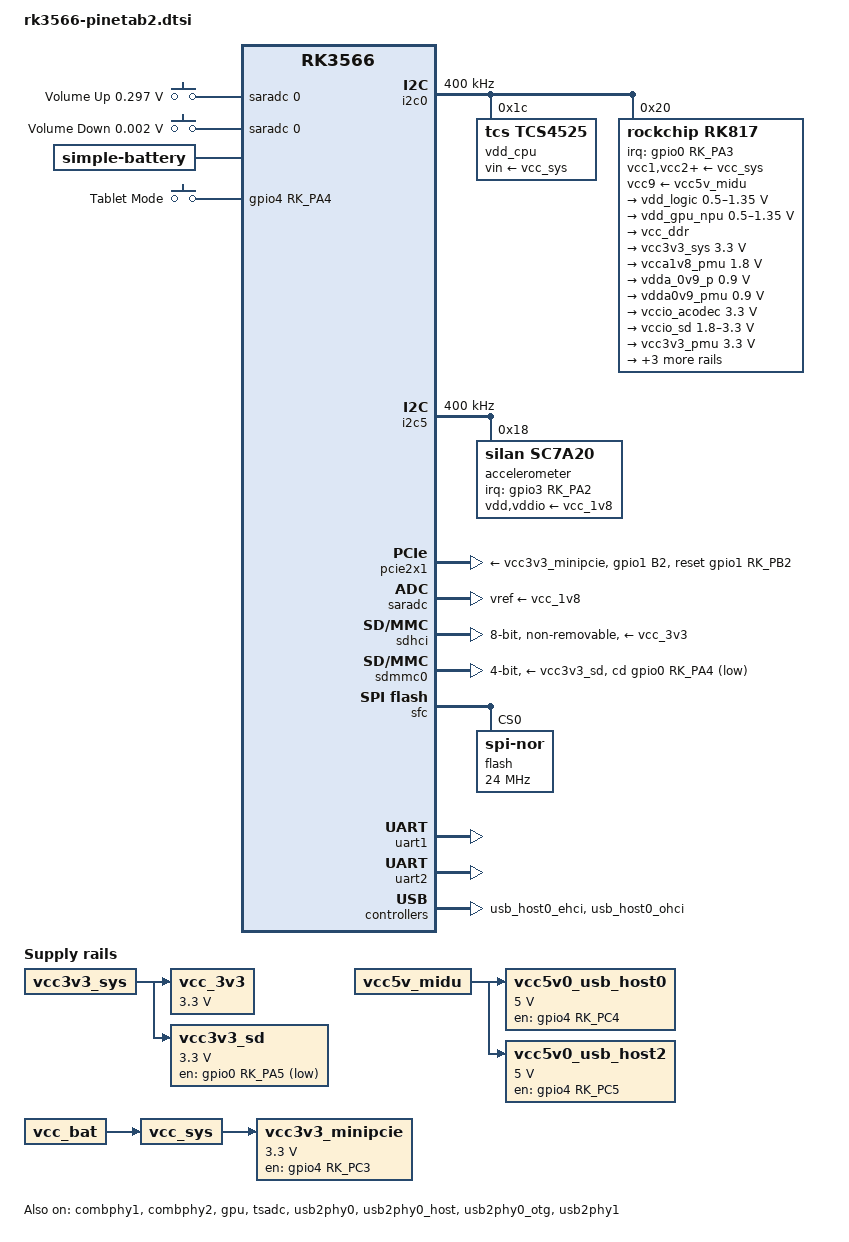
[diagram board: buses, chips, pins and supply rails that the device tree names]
// SPDX-License-Identifier: (GPL-2.0+ OR MIT)

#include <dt-bindings/gpio/gpio.h>
#include <dt-bindings/input/gpio-keys.h>
#include <dt-bindings/input/input.h>
#include <dt-bindings/leds/common.h>
#include <dt-bindings/pinctrl/rockchip.h>
#include <dt-bindings/usb/pd.h>
#include "rk3566.dtsi"

/ {
	chassis-type = "tablet";

	aliases {
		mmc0 = &sdmmc0;
		mmc1 = &sdhci;
	};

	chosen {
		stdout-path = "serial2:1500000n8";
	};

	adc-keys {
		compatible = "adc-keys";
		io-channels = <&saradc 0>;
		io-channel-names = "buttons";
		keyup-threshold-microvolt = <1800000>;
		poll-interval = <25>;

		vol-up-key {
			label = "Volume Up";
			linux,code = <KEY_VOLUMEUP>;
			press-threshold-microvolt = <297500>;
		};

		vol-down-key {
			label = "Volume Down";
			linux,code = <KEY_VOLUMEDOWN>;
			press-threshold-microvolt = <1750>;
		};
	};

	battery: battery {
		compatible = "simple-battery";
		charge-full-design-microamp-hours = <6000000>;
		charge-term-current-microamp = <300000>;
		constant-charge-current-max-microamp = <2000000>;
		constant-charge-voltage-max-microvolt = <4300000>;
		voltage-max-design-microvolt = <4350000>;
		voltage-min-design-microvolt = <3400000>;

		ocv-capacity-celsius = <20>;
		ocv-capacity-table-0 = <4322000 100>, <4250000 95>, <4192000 90>, <4136000 85>,
				       <4080000 80>, <4022000 75>, <3972000 70>, <3928000 65>,
				       <3885000 60>, <3833000 55>, <3798000 50>, <3780000 45>,
				       <3776000 40>, <3773000 35>, <3755000 30>, <3706000 25>,
				       <3640000 20>, <3589000 15>, <3535000 10>, <3492000 5>,
				       <3400000 0>;
	};

	gpio_keys: gpio-keys {
		compatible = "gpio-keys";
		pinctrl-names = "default";
		pinctrl-0 = <&kb_id_det>;

		tablet-mode-switch {
			debounce-interval = <20>;
			gpios = <&gpio4 RK_PA4 GPIO_ACTIVE_HIGH>;
			label = "Tablet Mode";
			linux,input-type = <EV_SW>;
			linux,code = <SW_TABLET_MODE>;
		};
	};

	vcc_3v3: vcc-3v3 {
		compatible = "regulator-fixed";
		regulator-name = "vcc_3v3";
		regulator-always-on;
		regulator-boot-on;
		regulator-min-microvolt = <3300000>;
		regulator-max-microvolt = <3300000>;
		vin-supply = <&vcc3v3_sys>;

		regulator-state-mem {
			regulator-off-in-suspend;
		};
	};

	vcc3v3_minipcie: vcc3v3-minipcie {
		compatible = "regulator-fixed";
		enable-active-high;
		gpio = <&gpio4 RK_PC3 GPIO_ACTIVE_HIGH>;
		pinctrl-names = "default";
		pinctrl-0 = <&pcie_pwren_h>;
		regulator-name = "vcc3v3_minipcie";
		regulator-min-microvolt = <3300000>;
		regulator-max-microvolt = <3300000>;
		vin-supply = <&vcc_sys>;

		regulator-state-mem {
			regulator-off-in-suspend;
		};
	};

	vcc3v3_sd: vcc3v3-sd {
		compatible = "regulator-fixed";
		gpio = <&gpio0 RK_PA5 GPIO_ACTIVE_HIGH>;
		pinctrl-names = "default";
		pinctrl-0 = <&sdmmc_pwren_l>;
		regulator-name = "vcc3v3_sd";
		regulator-min-microvolt = <3300000>;
		regulator-max-microvolt = <3300000>;
		vin-supply = <&vcc3v3_sys>;

		regulator-state-mem {
			regulator-off-in-suspend;
		};
	};

	vcc5v0_usb_host0: vcc5v0-usb-host0 {
		compatible = "regulator-fixed";
		enable-active-high;
		gpio = <&gpio4 RK_PC4 GPIO_ACTIVE_HIGH>;
		pinctrl-names = "default";
		pinctrl-0 = <&usb_host_pwren1_h>;
		regulator-name = "vcc5v0_usb_host0";
		regulator-min-microvolt = <5000000>;
		regulator-max-microvolt = <5000000>;
		vin-supply = <&vcc5v_midu>;

		regulator-state-mem {
			regulator-off-in-suspend;
		};
	};

	vcc5v0_usb_host2: vcc5v0-usb-host2 {
		compatible = "regulator-fixed";
		enable-active-high;
		gpio = <&gpio4 RK_PC5 GPIO_ACTIVE_HIGH>;
		pinctrl-names = "default";
		pinctrl-0 = <&usb_host_pwren2_h>;
		regulator-name = "vcc5v0_usb_host2";
		regulator-min-microvolt = <5000000>;
		regulator-max-microvolt = <5000000>;
		vin-supply = <&vcc5v_midu>;

		regulator-state-mem {
			regulator-off-in-suspend;
		};
	};

	vcc_bat: vcc-bat {
		compatible = "regulator-fixed";
		regulator-name = "vcc_bat";
		regulator-always-on;
		regulator-boot-on;
	};

	vcc_sys: vcc-sys {
		compatible = "regulator-fixed";
		regulator-name = "vcc_sys";
		regulator-always-on;
		regulator-boot-on;
		vin-supply = <&vcc_bat>;
	};
};

&combphy1 {
	status = "okay";
};

&combphy2 {
	status = "okay";
};

&cpu0 {
	cpu-supply = <&vdd_cpu>;
};

&cpu1 {
	cpu-supply = <&vdd_cpu>;
};

&cpu2 {
	cpu-supply = <&vdd_cpu>;
};

&cpu3 {
	cpu-supply = <&vdd_cpu>;
};

&cru {
	assigned-clocks = <&cru PLL_GPLL>, <&pmucru PLL_PPLL>, <&cru PLL_VPLL>;
	assigned-clock-rates = <1200000000>, <200000000>, <500000000>;
};

&gpu {
	mali-supply = <&vdd_gpu_npu>;
	status = "okay";
};

&i2c0 {
	clock-frequency = <400000>;
	status = "okay";

	vdd_cpu: regulator@1c {
		compatible = "tcs,tcs4525";
		reg = <0x1c>;
		fcs,suspend-voltage-selector = <1>;
		regulator-name = "vdd_cpu";
		regulator-min-microvolt = <800000>;
		regulator-max-microvolt = <1150000>;
		regulator-ramp-delay = <2300>;
		regulator-always-on;
		regulator-boot-on;
		vin-supply = <&vcc_sys>;

		regulator-state-mem {
			regulator-off-in-suspend;
		};
	};

	rk817: pmic@20 {
		compatible = "rockchip,rk817";
		reg = <0x20>;
		interrupt-parent = <&gpio0>;
		interrupts = <RK_PA3 IRQ_TYPE_LEVEL_LOW>;
		pinctrl-names = "default";
		pinctrl-0 = <&pmic_int_l>;
		rockchip,system-power-controller;
		wakeup-source;

		vcc1-supply = <&vcc_sys>;
		vcc2-supply = <&vcc_sys>;
		vcc3-supply = <&vcc_sys>;
		vcc4-supply = <&vcc_sys>;
		vcc5-supply = <&vcc_sys>;
		vcc6-supply = <&vcc_sys>;
		vcc7-supply = <&vcc_sys>;
		vcc8-supply = <&vcc_sys>;
		vcc9-supply = <&vcc5v_midu>;

		regulators {
			vdd_logic: DCDC_REG1 {
				regulator-always-on;
				regulator-boot-on;
				regulator-min-microvolt = <500000>;
				regulator-max-microvolt = <1350000>;
				regulator-init-microvolt = <900000>;
				regulator-ramp-delay = <6001>;
				regulator-initial-mode = <0x2>;
				regulator-name = "vdd_logic";
				regulator-state-mem {
					regulator-off-in-suspend;
				};
			};

			vdd_gpu_npu: DCDC_REG2 {
				regulator-always-on;
				regulator-boot-on;
				regulator-min-microvolt = <500000>;
				regulator-max-microvolt = <1350000>;
				regulator-init-microvolt = <900000>;
				regulator-ramp-delay = <6001>;
				regulator-initial-mode = <0x2>;
				regulator-name = "vdd_gpu_npu";
				regulator-state-mem {
					regulator-off-in-suspend;
				};
			};

			vcc_ddr: DCDC_REG3 {
				regulator-always-on;
				regulator-boot-on;
				regulator-initial-mode = <0x2>;
				regulator-name = "vcc_ddr";
				regulator-state-mem {
					regulator-on-in-suspend;
				};
			};

			vcc3v3_sys: DCDC_REG4 {
				regulator-always-on;
				regulator-boot-on;
				regulator-min-microvolt = <3300000>;
				regulator-max-microvolt = <3300000>;
				regulator-initial-mode = <0x2>;
				regulator-name = "vcc3v3_sys";
				regulator-state-mem {
					regulator-off-in-suspend;
				};
			};

			vcca1v8_pmu: LDO_REG1 {
				regulator-always-on;
				regulator-boot-on;
				regulator-min-microvolt = <1800000>;
				regulator-max-microvolt = <1800000>;
				regulator-name = "vcca1v8_pmu";
				regulator-state-mem {
					regulator-on-in-suspend;
				};
			};

			vdda_0v9_p: LDO_REG2 {
				regulator-always-on;
				regulator-boot-on;
				regulator-min-microvolt = <900000>;
				regulator-max-microvolt = <900000>;
				regulator-name = "vdda_0v9_p";
				regulator-state-mem {
					regulator-off-in-suspend;
				};
			};

			vdda0v9_pmu: LDO_REG3 {
				regulator-always-on;
				regulator-boot-on;
				regulator-min-microvolt = <900000>;
				regulator-max-microvolt = <900000>;
				regulator-name = "vdda0v9_pmu";
				regulator-state-mem {
					regulator-off-in-suspend;
				};
			};

			vccio_acodec: LDO_REG4 {
				regulator-always-on;
				regulator-boot-on;
				regulator-min-microvolt = <3300000>;
				regulator-max-microvolt = <3300000>;
				regulator-name = "vccio_acodec";
				regulator-state-mem {
					regulator-off-in-suspend;
				};
			};

			vccio_sd: LDO_REG5 {
				regulator-always-on;
				regulator-boot-on;
				regulator-min-microvolt = <1800000>;
				regulator-max-microvolt = <3300000>;
				regulator-name = "vccio_sd";
				regulator-state-mem {
					regulator-off-in-suspend;
				};
			};

			vcc3v3_pmu: LDO_REG6 {
				regulator-always-on;
				regulator-boot-on;
				regulator-min-microvolt = <3300000>;
				regulator-max-microvolt = <3300000>;
				regulator-name = "vcc3v3_pmu";
				regulator-state-mem {
					regulator-on-in-suspend;
				};
			};

			vcc_1v8: LDO_REG7 {
				regulator-always-on;
				regulator-boot-on;
				regulator-min-microvolt = <1800000>;
				regulator-max-microvolt = <1800000>;
				regulator-name = "vcc_1v8";
				regulator-state-mem {
					regulator-off-in-suspend;
				};
			};

			vcc5v_midu: BOOST {
				regulator-always-on;
				regulator-boot-on;
				regulator-min-microvolt = <5000000>;
				regulator-max-microvolt = <5000000>;
				regulator-name = "boost";
				regulator-state-mem {
					regulator-off-in-suspend;
				};
			};

			vbus: OTG_SWITCH {
				regulator-min-microvolt = <5000000>;
				regulator-max-microvolt = <5000000>;
				regulator-name = "otg_switch";
				regulator-state-mem {
					regulator-off-in-suspend;
				};
			};
		};

		charger {
			monitored-battery = <&battery>;
			rockchip,resistor-sense-micro-ohms = <10000>;
			rockchip,sleep-enter-current-microamp = <300000>;
			rockchip,sleep-filter-current-microamp = <100000>;
		};
	};
};

&i2c5 {
	clock-frequency = <400000>;
	status = "okay";

	accelerometer@18 {
		compatible = "silan,sc7a20";
		reg = <0x18>;
		interrupt-parent = <&gpio3>;
		interrupts = <RK_PA2 IRQ_TYPE_LEVEL_LOW>;
		pinctrl-names = "default";
		pinctrl-0 = <&gsensor_int_l>;
		st,drdy-int-pin = <1>;
		vdd-supply = <&vcc_1v8>;
		vddio-supply = <&vcc_1v8>;
		mount-matrix = "1", "0", "0",
			       "0", "0", "1",
			       "0", "1", "0";
	};
};

&pcie2x1 {
	pinctrl-names = "default";
	pinctrl-0 = <&pcie_reset_h>;
	reset-gpios = <&gpio1 RK_PB2 GPIO_ACTIVE_HIGH>;
	vpcie3v3-supply = <&vcc3v3_minipcie>;
	status = "okay";
};

&pinctrl {
	gsensor {
		gsensor_int_l: gsensor-int-l {
			rockchip,pins = <3 RK_PA2 RK_FUNC_GPIO &pcfg_pull_up>;
		};
	};

	kb {
		kb_id_det: kb-id-det {
			rockchip,pins = <4 RK_PA4 RK_FUNC_GPIO &pcfg_pull_none>;
		};
	};

	pcie {
		pcie_pwren_h: pcie-pwren-h {
			rockchip,pins = <4 RK_PC3 RK_FUNC_GPIO &pcfg_pull_none>;
		};

		pcie_reset_h: pcie-reset-h {
			rockchip,pins = <1 RK_PB2 RK_FUNC_GPIO &pcfg_pull_none>;
		};
	};

	pmic {
		pmic_int_l: pmic-int-l {
			rockchip,pins = <0 RK_PA3 RK_FUNC_GPIO &pcfg_pull_up>;
		};
	};

	sdmmc {
		sdmmc_pwren_l: sdmmc-pwren-l {
			rockchip,pins = <0 RK_PA5 RK_FUNC_GPIO &pcfg_pull_none>;
		};
	};

	usb {
		usbcc_int_l: usbcc-int-l {
			rockchip,pins = <0 RK_PC5 RK_FUNC_GPIO &pcfg_pull_none>;
		};

		usb_host_pwren1_h: usb-host-pwren1-h {
			rockchip,pins = <4 RK_PC4 RK_FUNC_GPIO &pcfg_pull_none>;
		};

		usb_host_pwren2_h: usb-host-pwren2-h {
			rockchip,pins = <4 RK_PC5 RK_FUNC_GPIO &pcfg_pull_none>;
		};
	};
};

&pmu_io_domains {
	pmuio1-supply = <&vcc3v3_pmu>;
	pmuio2-supply = <&vcca1v8_pmu>;
	vccio1-supply = <&vccio_acodec>;
	vccio2-supply = <&vcc_1v8>;
	vccio3-supply = <&vccio_sd>;
	vccio4-supply = <&vcc_1v8>;
	vccio5-supply = <&vcc_1v8>;
	vccio7-supply = <&vcc_3v3>;
	status = "okay";
};

&saradc {
	vref-supply = <&vcc_1v8>;
	status = "okay";
};

&sdhci {
	bus-width = <8>;
	no-sdio;
	no-sd;
	non-removable;
	max-frequency = <200000000>;
	mmc-hs200-1_8v;
	pinctrl-names = "default";
	pinctrl-0 = <&emmc_bus8
		     &emmc_clk
		     &emmc_cmd
		     &emmc_datastrobe
		     &emmc_rstnout>;
	vmmc-supply = <&vcc_3v3>;
	vqmmc-supply = <&vcc_1v8>;
	status = "okay";
};

&sdmmc0 {
	bus-width = <4>;
	cap-sd-highspeed;
	cd-gpios = <&gpio0 RK_PA4 GPIO_ACTIVE_LOW>;
	disable-wp;
	pinctrl-names = "default";
	pinctrl-0 = <&sdmmc0_bus4
		     &sdmmc0_clk
		     &sdmmc0_cmd
		     &sdmmc0_det>;
	sd-uhs-sdr104;
	vmmc-supply = <&vcc3v3_sd>;
	vqmmc-supply = <&vccio_sd>;
	status = "okay";
};

&sfc {
	pinctrl-names = "default";
	pinctrl-0 = <&fspi_dual_io_pins>;
	status = "okay";
	#address-cells = <1>;
	#size-cells = <0>;

	flash@0 {
		compatible = "jedec,spi-nor";
		reg = <0>;
		spi-max-frequency = <24000000>;
		spi-rx-bus-width = <2>;
		spi-tx-bus-width = <1>;
	};
};

&tsadc {
	rockchip,hw-tshut-mode = <1>;
	rockchip,hw-tshut-polarity = <0>;
	status = "okay";
};

&uart1 {
	pinctrl-names = "default";
	pinctrl-0 = <&uart1m0_xfer
		     &uart1m0_ctsn
		     &uart1m0_rtsn>;
	status = "okay";
	uart-has-rtscts;
};

&uart2 {
	status = "okay";
};

&usb_host0_ehci {
	status = "okay";
};

&usb_host0_ohci {
	status = "okay";
};

&usb2phy0 {
	status = "okay";
};

&usb2phy0_host {
	phy-supply = <&vcc5v0_usb_host0>;
	status = "okay";
};

&usb2phy0_otg {
	status = "okay";
};

&usb2phy1 {
	status = "okay";
};
